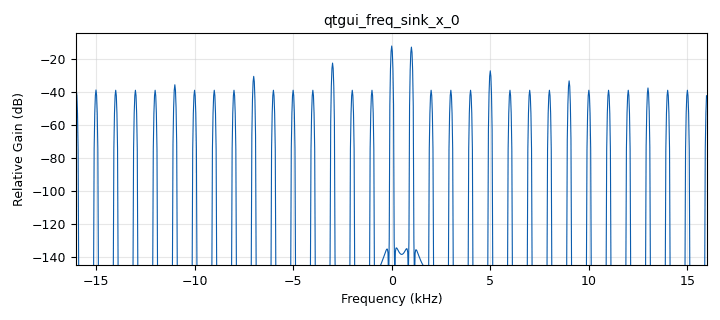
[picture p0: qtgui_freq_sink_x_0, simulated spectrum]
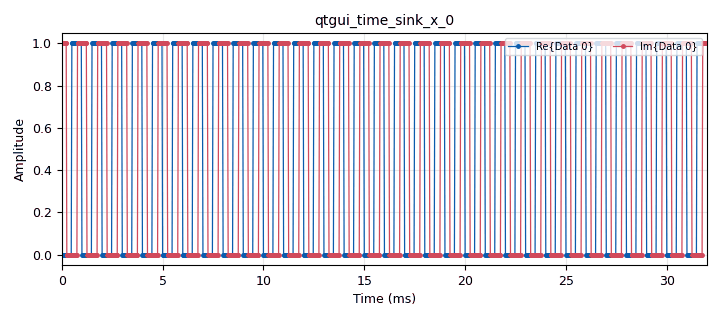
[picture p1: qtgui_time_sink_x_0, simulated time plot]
options:
  parameters:
    author: Hao Men
    copyright: hmlab
    generate_options: qt_gui
    id: L2_answer
    output_language: python
    title: L2 Followup
  states: {}

blocks:
- name: freq
  id: variable_qtgui_range
  parameters:
    start: '0'
    step: '100'
    stop: '16000'
    value: '1000'
  states: {}
- name: samp_rate
  id: variable
  parameters:
    value: '32000'
  states: {}
- name: analog_sig_source_x_0
  id: analog_sig_source_x
  parameters:
    amp: '1'
    freq: freq
    offset: '0'
    phase: '0'
    samp_rate: samp_rate
    type: complex
    waveform: analog.GR_SQR_WAVE
  states: {}
- name: analog_sig_source_x_0_0
  id: analog_sig_source_x
  parameters:
    amp: '1'
    freq: '5000'
    offset: '0'
    phase: '0'
    samp_rate: samp_rate
    type: complex
    waveform: analog.GR_COS_WAVE
  states: {state: disabled}
- name: blocks_add_xx_0
  id: blocks_add_xx
  parameters:
    type: complex
  states: {state: disabled}
- name: blocks_throttle_0
  id: blocks_throttle
  parameters:
    samples_per_second: samp_rate
    type: complex
  states: {}
- name: qtgui_freq_sink_x_0
  id: qtgui_freq_sink_x
  parameters:
    autoscale: 'True'
    bw: samp_rate
    fc: '0'
    fftsize: '1024'
    type: complex
    ymin: '-100'
  states: {}
- name: qtgui_time_sink_x_0
  id: qtgui_time_sink_x
  parameters:
    autoscale: 'True'
    color2: green
    entags: 'False'
    grid: 'True'
    marker1: '0'
    marker2: '0'
    size: '1024'
    srate: samp_rate
    style1: '3'
    type: complex
  states: {}

connections:
- [analog_sig_source_x_0, '0', blocks_add_xx_0, '0']
- [analog_sig_source_x_0, '0', blocks_throttle_0, '0']
- [analog_sig_source_x_0_0, '0', blocks_add_xx_0, '1']
- [blocks_add_xx_0, '0', blocks_throttle_0, '0']
- [blocks_throttle_0, '0', qtgui_freq_sink_x_0, '0']
- [blocks_throttle_0, '0', qtgui_time_sink_x_0, '0']

metadata:
  file_format: 1
